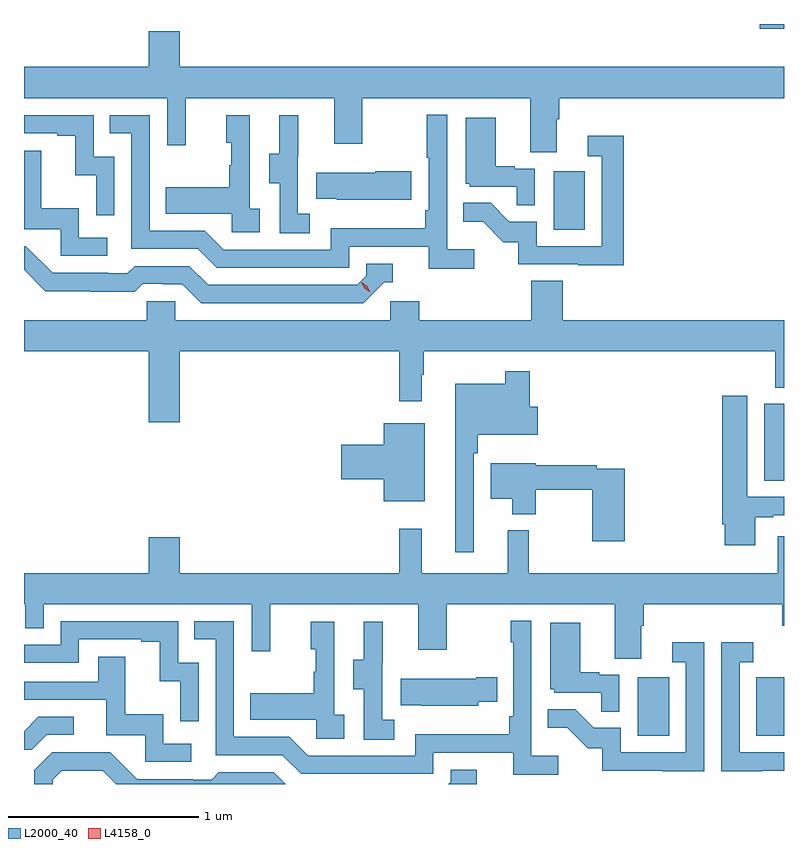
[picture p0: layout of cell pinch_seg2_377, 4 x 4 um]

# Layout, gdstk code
import gdstk
lib = gdstk.Library(unit=1e-6, precision=1e-09)
def R(c, l, rs):  # rectangles x0, y0, x1, y1
    for r in rs: c.add(gdstk.rectangle(r[:2], r[2:], *l))
def P(c, l, *ps):  # polygons
    for p in ps: c.add(gdstk.Polygon(p, *l))
L2000_40 = (2000, 40)
L4158_0 = (4158, 0)

pinch_seg2_377 = lib.new_cell('pinch_seg2_377')
R(pinch_seg2_377, L2000_40, [(994.754,608.316,994.918,608.623), (995.378,608.316,995.523,608.623), (995.42,609.658,995.523,610.063), (994.31,610.98,994.474,611.287), (995.395,612.036,995.523,612.062)])
P(pinch_seg2_377, L2000_40, [(994.327,611.56),(994.34,611.56),(994.34,611.672),(995.523,611.672),(995.523,611.836),(992.344,611.836),(992.344,612.025),(992.18,612.025),(992.18,611.836),(991.523,611.836),(991.523,611.672),(992.277,611.672),(992.277,611.424),(992.375,611.424),(992.375,611.672),(993.155,611.672),(993.155,611.433),(993.303,611.433),(993.303,611.672),(994.187,611.672),(994.187,611.386),(994.327,611.386)],
  [(993.892,610.876),(993.75,610.876),(993.75,611.584),(993.642,611.584),(993.642,611.359),(993.654,611.359),(993.654,611.083),(993.634,611.083),(993.634,610.987),(993.138,610.987),(993.138,610.875),(992.574,610.875),(992.475,610.974),(992.184,610.974),(992.184,611.583),(991.975,611.583),(991.975,611.487),(992.088,611.487),(992.088,610.878),(992.438,610.878),(992.537,610.779),(993.234,610.779),(993.234,610.89),(993.653,610.89),(993.653,610.774),(993.892,610.774)],
  [(991.998,611.364),(991.89,611.364),(991.89,611.583),(991.523,611.583),(991.523,611.487),(991.697,611.487),(991.697,611.475),(991.793,611.475),(991.793,611.267),(991.902,611.267),(991.902,611.055),(991.998,611.055)],
  [(992.764,611.09),(992.712,611.09),(992.712,611.581),(992.588,611.581),(992.588,611.436),(992.614,611.436),(992.614,611.318),(992.604,611.318),(992.604,611.203),(992.269,611.203),(992.269,611.063),(992.616,611.063),(992.616,610.965),(992.764,610.965)],
  [(993.028,611.063),(992.964,611.063),(992.964,611.367),(992.966,611.367),(992.966,611.581),(992.867,611.581),(992.867,611.379),(992.813,611.379),(992.813,611.224),(992.868,611.224),(992.868,610.96),(993.028,610.96)],
  [(994.212,611.301),(994.106,611.301),(994.106,611.314),(994.006,611.314),(994.006,611.569),(993.848,611.569),(993.848,611.22),(993.87,611.22),(993.87,611.205),(994.117,611.205),(994.117,611.107),(994.212,611.107)],
  [(994.679,611.473),(994.491,611.473),(994.491,611.367),(994.563,611.367),(994.563,610.893),(994.221,610.893),(994.221,611.022),(994.077,611.022),(993.979,611.12),(993.835,611.12),(993.835,611.021),(993.939,611.021),(994.046,610.914),(994.123,610.914),(994.123,610.797),(994.441,610.797),(994.441,610.792),(994.679,610.792)],
  [(991.96,610.938),(991.812,610.938),(991.812,611.092),(991.613,611.092),(991.613,611.395),(991.523,611.395),(991.523,610.983),(991.716,610.983),(991.716,610.842),(991.96,610.842)],
  [(993.562,611.286),(993.371,611.286),(993.371,611.278),(993.061,611.278),(993.061,611.141),(993.169,611.141),(993.169,611.138),(993.562,611.138)],
  [(993.42,610.704),(993.463,610.704),(993.463,610.8),(993.324,610.8),(993.324,610.737),(993.276,610.689),(992.493,610.689),(992.394,610.788),(992.105,610.788),(992.066,610.749),(991.967,610.749),(991.967,610.752),(991.674,610.752),(991.533,610.893),(991.523,610.893),(991.523,610.768),(991.636,610.655),(991.872,610.655),(991.872,610.653),(992.105,610.653),(992.147,610.695),(992.25,610.695),(992.25,610.692),(992.357,610.692),(992.456,610.593),(993.309,610.593)],
  [(992.344,610.34),(993.499,610.34),(993.499,610.077),(993.616,610.077),(993.616,610.217),(993.628,610.217),(993.628,610.34),(995.477,610.34),(995.477,610.148),(995.523,610.148),(995.523,610.504),(994.358,610.504),(994.358,610.712),(994.193,610.712),(994.193,610.504),(993.602,610.504),(993.602,610.602),(993.45,610.602),(993.45,610.504),(992.319,610.504),(992.319,610.602),(992.169,610.602),(992.169,610.504),(991.523,610.504),(991.523,610.34),(992.18,610.34),(992.18,609.966),(992.344,609.966)],
  [(993.891,609.803),(993.911,609.803),(993.911,609.899),(994.228,609.899),(994.228,610.047),(994.184,610.047),(994.184,610.234),(994.056,610.234),(994.056,610.168),(993.794,610.168),(993.794,609.282),(993.891,609.282)],
  [(995.371,609.465),(995.467,609.465),(995.467,609.477),(995.523,609.477),(995.523,609.573),(995.329,609.573),(995.329,610.105),(995.198,610.105),(995.198,609.43),(995.21,609.43),(995.21,609.318),(995.371,609.318)],
  [(993.631,609.961),(993.416,609.961),(993.416,609.848),(993.192,609.848),(993.192,609.665),(993.416,609.665),(993.416,609.551),(993.631,609.551)],
  [(994.685,609.72),(994.538,609.72),(994.538,609.74),(994.216,609.74),(994.216,609.751),(993.98,609.751),(993.98,609.563),(994.094,609.563),(994.094,609.482),(994.216,609.482),(994.216,609.612),(994.514,609.612),(994.514,609.339),(994.685,609.339)],
  [(994.771,608.896),(994.784,608.896),(994.784,609.008),(995.513,609.008),(995.513,608.896),(995.523,608.896),(995.523,609.367),(995.489,609.367),(995.489,609.172),(994.18,609.172),(994.18,609.397),(994.07,609.397),(994.07,609.172),(993.617,609.172),(993.617,609.406),(993.499,609.406),(993.499,609.172),(992.344,609.172),(992.344,609.361),(992.18,609.361),(992.18,609.172),(991.523,609.172),(991.523,609.008),(991.53,609.008),(991.53,608.881),(991.626,608.881),(991.626,609.008),(992.721,609.008),(992.721,608.76),(992.819,608.76),(992.819,609.008),(993.599,609.008),(993.599,608.769),(993.747,608.769),(993.747,609.008),(994.631,609.008),(994.631,608.722),(994.771,608.722)],
  [(994.336,608.212),(994.194,608.212),(994.194,608.92),(994.086,608.92),(994.086,608.807),(994.098,608.807),(994.098,608.419),(994.078,608.419),(994.078,608.323),(993.582,608.323),(993.582,608.211),(993.018,608.211),(992.919,608.31),(992.628,608.31),(992.628,608.919),(992.419,608.919),(992.419,608.823),(992.532,608.823),(992.532,608.214),(992.882,608.214),(992.981,608.115),(993.678,608.115),(993.678,608.226),(994.097,608.226),(994.097,608.11),(994.336,608.11)],
  [(992.442,608.7),(992.334,608.7),(992.334,608.919),(991.716,608.919),(991.716,608.796),(991.523,608.796),(991.523,608.7),(991.812,608.7),(991.812,608.823),(992.141,608.823),(992.141,608.811),(992.237,608.811),(992.237,608.603),(992.346,608.603),(992.346,608.391),(992.442,608.391)],
  [(993.472,608.399),(993.408,608.399),(993.408,608.703),(993.41,608.703),(993.41,608.917),(993.311,608.917),(993.311,608.715),(993.257,608.715),(993.257,608.56),(993.312,608.56),(993.312,608.296),(993.472,608.296)],
  [(993.208,608.426),(993.156,608.426),(993.156,608.917),(993.032,608.917),(993.032,608.772),(993.058,608.772),(993.058,608.654),(993.048,608.654),(993.048,608.539),(992.713,608.539),(992.713,608.399),(993.06,608.399),(993.06,608.301),(993.208,608.301)],
  [(994.656,608.637),(994.55,608.637),(994.55,608.65),(994.45,608.65),(994.45,608.911),(994.292,608.911),(994.292,608.562),(994.314,608.562),(994.314,608.541),(994.561,608.541),(994.561,608.443),(994.656,608.443)],
  [(995.103,608.809),(994.935,608.809),(994.935,608.703),(995.007,608.703),(995.007,608.229),(994.665,608.229),(994.665,608.358),(994.521,608.358),(994.423,608.456),(994.279,608.456),(994.279,608.357),(994.383,608.357),(994.49,608.25),(994.567,608.25),(994.567,608.133),(994.885,608.133),(994.885,608.128),(995.103,608.128)],
  [(995.411,608.133),(995.523,608.133),(995.523,608.229),(995.289,608.229),(995.289,608.703),(995.362,608.703),(995.362,608.809),(995.193,608.809),(995.193,608.128),(995.411,608.128)],
  [(992.404,608.274),(992.256,608.274),(992.256,608.428),(992.057,608.428),(992.057,608.731),(991.913,608.731),(991.913,608.601),(991.523,608.601),(991.523,608.505),(991.955,608.505),(991.955,608.319),(992.16,608.319),(992.16,608.178),(992.404,608.178)],
  [(993.915,608.495),(994.013,608.495),(994.013,608.625),(993.902,608.625),(993.902,608.617),(993.505,608.617),(993.505,608.477),(993.613,608.477),(993.613,608.474),(993.915,608.474)],
  [(991.644,608.322),(991.786,608.322),(991.786,608.415),(991.598,608.415),(991.523,608.34),(991.523,608.242),(991.564,608.242)],
  [(991.674,608.085),(991.722,608.133),(991.938,608.133),(992.009,608.062),(992.9,608.062),(992.838,608.124),(992.549,608.124),(992.51,608.085),(992.411,608.085),(992.411,608.088),(992.118,608.088),(991.977,608.229),(991.671,608.229),(991.577,608.135),(991.577,608.062),(991.674,608.062)],
  [(993.907,608.136),(993.768,608.136),(993.768,608.073),(993.757,608.062),(993.907,608.062)])
P(pinch_seg2_377, L4158_0, [(993.345,610.65),(993.315,610.67),(993.299,610.702),(993.299,610.702),(993.3,610.702),(993.33,610.683),(993.346,610.65),(993.346,610.65)])

lib.write_gds('pinch_seg2_377.gds')
